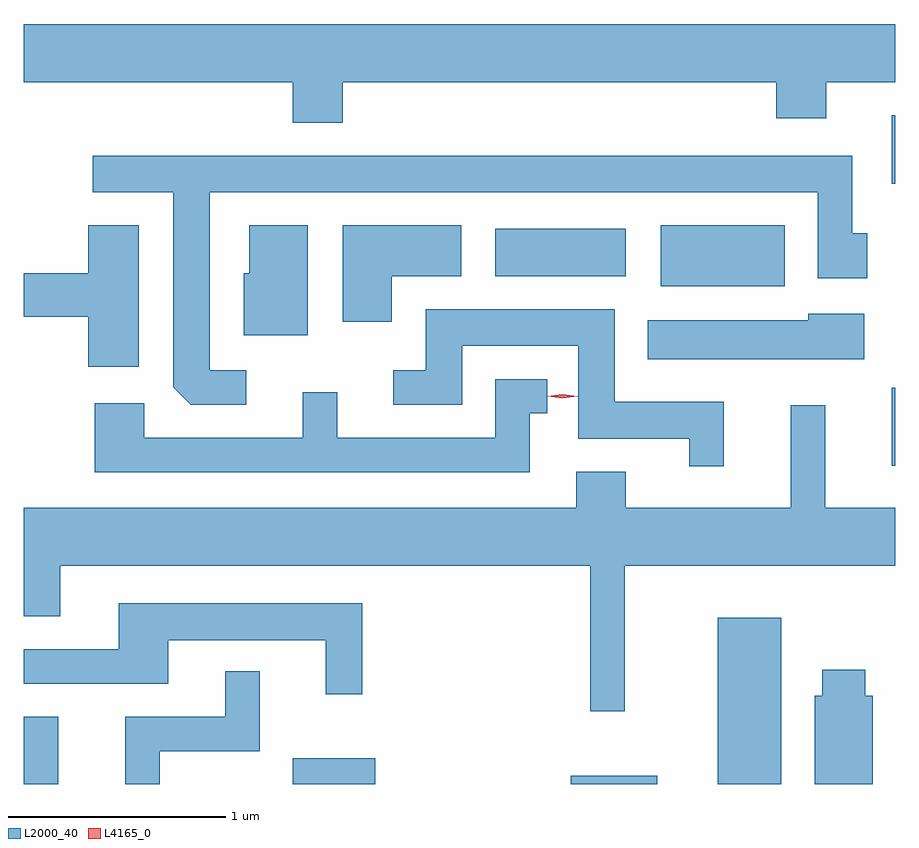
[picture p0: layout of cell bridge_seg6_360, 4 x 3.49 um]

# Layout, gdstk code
import gdstk
lib = gdstk.Library(unit=1e-6, precision=1e-09)
def R(c, l, rs):  # rectangles x0, y0, x1, y1
    for r in rs: c.add(gdstk.rectangle(r[:2], r[2:], *l))
def P(c, l, *ps):  # polygons
    for p in ps: c.add(gdstk.Polygon(p, *l))
L2000_40 = (2000, 40)
L4165_0 = (4165, 0)

bridge_seg6_360 = lib.new_cell('bridge_seg6_360')
R(bridge_seg6_360, L2000_40, [(942.416,1646.715,942.574,1647.024), (943.651,1646.715,944.029,1646.834), (944.926,1646.715,945.324,1646.754), (945.601,1646.715,945.894,1647.479), (946.401,1648.176,946.416,1648.534), (945.341,1649.001,945.909,1649.279), (944.581,1649.046,945.179,1649.264), (946.401,1649.471,946.416,1649.784)])
P(bridge_seg6_360, L2000_40, [(943.879,1649.936),(945.871,1649.936),(945.871,1649.771),(946.099,1649.771),(946.099,1649.936),(946.416,1649.936),(946.416,1650.204),(942.416,1650.204),(942.416,1649.936),(943.651,1649.936),(943.651,1649.751),(943.879,1649.751)],
  [(943.438,1648.614),(943.269,1648.614),(943.269,1649.431),(946.061,1649.431),(946.061,1649.036),(946.289,1649.036),(946.289,1649.244),(946.219,1649.244),(946.219,1649.599),(942.733,1649.599),(942.733,1649.431),(943.101,1649.431),(943.101,1648.537),(943.182,1648.456),(943.438,1648.456)],
  [(943.719,1649.279),(943.451,1649.279),(943.451,1649.059),(943.426,1649.059),(943.426,1648.776),(943.719,1648.776)],
  [(942.944,1649.279),(942.711,1649.279),(942.711,1649.059),(942.416,1649.059),(942.416,1648.861),(942.711,1648.861),(942.711,1648.631),(942.944,1648.631)],
  [(944.104,1649.046),(944.424,1649.046),(944.424,1649.279),(943.881,1649.279),(943.881,1648.836),(944.104,1648.836)],
  [(945.629,1648.469),(945.129,1648.469),(945.129,1648.894),(944.261,1648.894),(944.261,1648.614),(944.113,1648.614),(944.113,1648.456),(944.429,1648.456),(944.429,1648.726),(944.961,1648.726),(944.961,1648.301),(945.471,1648.301),(945.471,1648.173),(945.629,1648.173)],
  [(946.274,1648.874),(946.016,1648.874),(946.016,1648.844),(945.281,1648.844),(945.281,1648.666),(946.274,1648.666)],
  [(944.739,1648.416),(944.818,1648.416),(944.818,1648.574),(944.581,1648.574),(944.581,1648.304),(943.854,1648.304),(943.854,1648.513),(943.696,1648.513),(943.696,1648.304),(942.969,1648.304),(942.969,1648.464),(942.741,1648.464),(942.741,1648.146),(944.739,1648.146)],
  [(945.174,1647.716),(946.416,1647.716),(946.416,1647.984),(946.094,1647.984),(946.094,1648.453),(945.936,1648.453),(945.936,1647.984),(945.179,1647.984),(945.179,1648.149),(944.951,1648.149),(944.951,1647.984),(942.416,1647.984),(942.416,1647.486),(942.584,1647.486),(942.584,1647.716),(945.016,1647.716),(945.016,1647.048),(945.174,1647.048)],
  [(943.969,1647.544),(942.851,1647.544),(942.851,1647.334),(942.416,1647.334),(942.416,1647.176),(943.079,1647.176),(943.079,1647.376),(943.801,1647.376),(943.801,1647.128),(943.969,1647.128)],
  [(946.314,1647.119),(946.279,1647.119),(946.279,1647.239),(946.081,1647.239),(946.081,1647.119),(946.046,1647.119),(946.046,1646.715),(946.314,1646.715)],
  [(943.039,1646.866),(943.499,1646.866),(943.499,1647.233),(943.341,1647.233),(943.341,1647.024),(942.881,1647.024),(942.881,1646.715),(943.039,1646.715)])
P(bridge_seg6_360, L4165_0, [(944.888,1648.485),(944.819,1648.494),(944.819,1648.495),(944.819,1648.495),(944.888,1648.505),(944.958,1648.496),(944.958,1648.496),(944.958,1648.495)])

lib.write_gds('bridge_seg6_360.gds')
